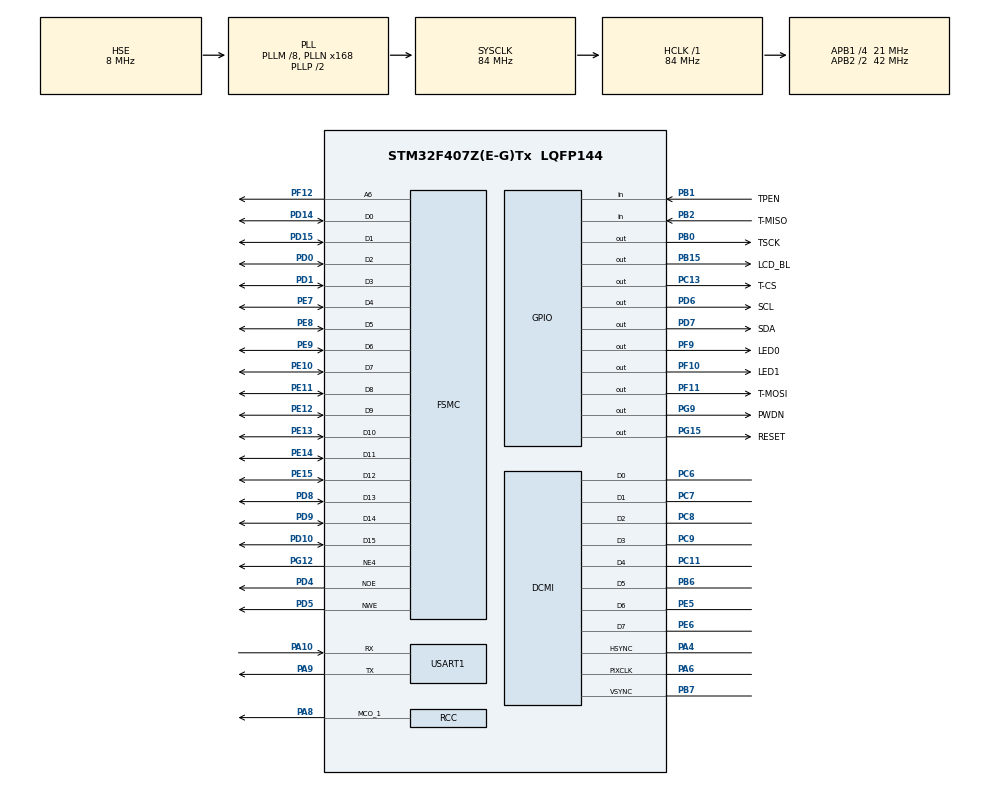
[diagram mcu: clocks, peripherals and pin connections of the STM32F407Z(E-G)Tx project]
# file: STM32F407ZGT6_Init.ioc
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DCMI.JPEGMode=DCMI_JPEG_ENABLE
DCMI.PCKPolarity=DCMI_PCKPOLARITY_RISING
Dma.DCMI.0.Direction=DMA_PERIPH_TO_MEMORY
Dma.DCMI.0.FIFOMode=DMA_FIFOMODE_ENABLE
Dma.DCMI.0.FIFOThreshold=DMA_FIFO_THRESHOLD_FULL
Dma.DCMI.0.Instance=DMA2_Stream1
Dma.DCMI.0.MemBurst=DMA_MBURST_SINGLE
Dma.DCMI.0.MemDataAlignment=DMA_MDATAALIGN_WORD
Dma.DCMI.0.MemInc=DMA_MINC_ENABLE
Dma.DCMI.0.Mode=DMA_CIRCULAR
Dma.DCMI.0.PeriphBurst=DMA_PBURST_SINGLE
Dma.DCMI.0.PeriphDataAlignment=DMA_PDATAALIGN_WORD
Dma.DCMI.0.PeriphInc=DMA_PINC_DISABLE
Dma.DCMI.0.Priority=DMA_PRIORITY_HIGH
Dma.Request0=DCMI
FSMC.AddressSetupTime1=0x0F
FSMC.BusTurnAroundDuration1=0
FSMC.DataSetupTime1=60
FSMC.ExtendedAddressSetupTime1=9
FSMC.ExtendedBusTurnAroundDuration1=0
FSMC.ExtendedDataSetupTime1=9
FSMC.ExtendedMode1=FSMC_EXTENDED_MODE_ENABLE
Mcu.Family=STM32F4
Mcu.Name=STM32F407Z(E-G)Tx
Mcu.Package=LQFP144
NVIC.DCMI_IRQn=true\:0\:0\:false\:false\:true\:true\:true\:true
NVIC.DMA2_Stream1_IRQn=true\:0\:0\:false\:false\:true\:false\:true\:true
NVIC.PriorityGroup=NVIC_PRIORITYGROUP_4
NVIC.USART1_IRQn=true\:2\:0\:true\:false\:true\:true\:true\:true
PA10.Mode=Asynchronous
PA10.Signal=USART1_RX
PA13.Mode=Serial_Wire
PA13.Signal=SYS_JTMS-SWDIO
PA14.Mode=Serial_Wire
PA14.Signal=SYS_JTCK-SWCLK
PA4.Mode=Slave_8_bits_External_Synchro
PA4.Signal=DCMI_HSYNC
PA6.Mode=Slave_8_bits_External_Synchro
PA6.Signal=DCMI_PIXCLK
PA8.Mode=Clock-out-1
PA8.Signal=RCC_MCO_1
PA9.Mode=Asynchronous
PA9.Signal=USART1_TX
PB0.GPIO_Label=TSCK
PB0.Signal=GPIO_Output
PB1.GPIO_Label=TPEN
PB1.GPIO_PuPd=GPIO_PULLUP
PB1.Signal=GPIO_Input
PB15.GPIO_Label=LCD_BL
PB15.Signal=GPIO_Output
PB2.GPIO_Label=T-MISO
PB2.GPIO_PuPd=GPIO_PULLUP
PB2.Signal=GPIO_Input
PB6.Mode=Slave_8_bits_External_Synchro
PB6.Signal=DCMI_D5
PB7.Mode=Slave_8_bits_External_Synchro
PB7.Signal=DCMI_VSYNC
PC11.Mode=Slave_8_bits_External_Synchro
PC11.Signal=DCMI_D4
PC13-ANTI_TAMP.GPIO_Label=T-CS
PC13-ANTI_TAMP.Signal=GPIO_Output
PC6.Mode=Slave_8_bits_External_Synchro
PC6.Signal=DCMI_D0
PC7.Mode=Slave_8_bits_External_Synchro
PC7.Signal=DCMI_D1
PC8.Mode=Slave_8_bits_External_Synchro
PC8.Signal=DCMI_D2
PC9.Mode=Slave_8_bits_External_Synchro
PC9.Signal=DCMI_D3
PD0.Signal=FSMC_D2_DA2
PD1.Signal=FSMC_D3_DA3
PD10.Signal=FSMC_D15_DA15
PD14.Signal=FSMC_D0_DA0
PD15.Signal=FSMC_D1_DA1
PD4.Signal=FSMC_NOE
PD5.Signal=FSMC_NWE
PD6.GPIO_Label=SCL
PD6.GPIO_ModeDefaultOutputPP=GPIO_MODE_OUTPUT_OD
PD6.GPIO_PuPd=GPIO_PULLUP
PD6.PinState=GPIO_PIN_SET
PD6.Signal=GPIO_Output
PD7.GPIO_Label=SDA
PD7.GPIO_ModeDefaultOutputPP=GPIO_MODE_OUTPUT_OD
PD7.GPIO_PuPd=GPIO_PULLUP
PD7.GPIO_Speed=GPIO_SPEED_FREQ_HIGH
PD7.PinState=GPIO_PIN_SET
PD7.Signal=GPIO_Output
PD8.Signal=FSMC_D13_DA13
PD9.Signal=FSMC_D14_DA14
PE10.Signal=FSMC_D7_DA7
PE11.Signal=FSMC_D8_DA8
PE12.Signal=FSMC_D9_DA9
PE13.Signal=FSMC_D10_DA10
PE14.Signal=FSMC_D11_DA11
PE15.Signal=FSMC_D12_DA12
PE5.Mode=Slave_8_bits_External_Synchro
PE5.Signal=DCMI_D6
PE6.Mode=Slave_8_bits_External_Synchro
PE6.Signal=DCMI_D7
PE7.Signal=FSMC_D4_DA4
PE8.Signal=FSMC_D5_DA5
PE9.Signal=FSMC_D6_DA6
PF10.GPIO_Label=LED1
PF10.GPIO_PuPd=GPIO_PULLUP
PF10.Signal=GPIO_Output
PF11.GPIO_Label=T-MOSI
PF11.Signal=GPIO_Output
PF12.Signal=FSMC_A6
PF9.GPIO_Label=LED0
PF9.GPIO_PuPd=GPIO_PULLUP
PF9.Signal=GPIO_Output
PG12.Mode=NorPsramChipSelect4_1
PG12.Signal=FSMC_NE4
PG15.GPIO_Label=RESET
PG15.GPIO_PuPd=GPIO_PULLUP
PG15.GPIO_Speed=GPIO_SPEED_FREQ_HIGH
PG15.PinState=GPIO_PIN_SET
PG15.Signal=GPIO_Output
PG9.GPIO_Label=PWDN
PG9.GPIO_PuPd=GPIO_PULLUP
PG9.GPIO_Speed=GPIO_SPEED_FREQ_HIGH
PG9.PinState=GPIO_PIN_SET
PG9.Signal=GPIO_Output
PH0-OSC_IN.Mode=HSE-External-Oscillator
PH0-OSC_IN.Signal=RCC_OSC_IN
PH1-OSC_OUT.Mode=HSE-External-Oscillator
PH1-OSC_OUT.Signal=RCC_OSC_OUT
ProjectManager.HeapSize=0x1000
ProjectManager.StackSize=0x2000
ProjectManager.TargetToolchain=MDK-ARM V5.32
RCC.48MHZClocksFreq_Value=42000000
RCC.AHBFreq_Value=84000000
RCC.APB1CLKDivider=RCC_HCLK_DIV4
RCC.APB1Freq_Value=21000000
RCC.APB1TimFreq_Value=42000000
RCC.APB2CLKDivider=RCC_HCLK_DIV2
RCC.APB2Freq_Value=42000000
RCC.APB2TimFreq_Value=84000000
RCC.CortexFreq_Value=84000000
RCC.HCLKFreq_Value=84000000
RCC.HSE_VALUE=8000000
RCC.HSI_VALUE=16000000
RCC.LSE_VALUE=32768
RCC.PLLM=8
RCC.PLLN=168
RCC.PLLSourceVirtual=RCC_PLLSOURCE_HSE
RCC.SYSCLKFreq_VALUE=84000000
RCC.SYSCLKSource=RCC_SYSCLKSOURCE_PLLCLK
RCC.VCOOutputFreq_Value=168000000
SH.FSMC_A6.0=FSMC_A6,A6_1
SH.FSMC_D0_DA0.0=FSMC_D0,16b-d1
SH.FSMC_D10_DA10.0=FSMC_D10,16b-d1
SH.FSMC_D11_DA11.0=FSMC_D11,16b-d1
SH.FSMC_D12_DA12.0=FSMC_D12,16b-d1
SH.FSMC_D13_DA13.0=FSMC_D13,16b-d1
SH.FSMC_D14_DA14.0=FSMC_D14,16b-d1
SH.FSMC_D15_DA15.0=FSMC_D15,16b-d1
SH.FSMC_D1_DA1.0=FSMC_D1,16b-d1
SH.FSMC_D2_DA2.0=FSMC_D2,16b-d1
SH.FSMC_D3_DA3.0=FSMC_D3,16b-d1
SH.FSMC_D4_DA4.0=FSMC_D4,16b-d1
SH.FSMC_D5_DA5.0=FSMC_D5,16b-d1
SH.FSMC_D6_DA6.0=FSMC_D6,16b-d1
SH.FSMC_D7_DA7.0=FSMC_D7,16b-d1
SH.FSMC_D8_DA8.0=FSMC_D8,16b-d1
SH.FSMC_D9_DA9.0=FSMC_D9,16b-d1
SH.FSMC_NOE.0=FSMC_NOE,Lcd1
SH.FSMC_NWE.0=FSMC_NWE,Lcd1
TIM6.Prescaler=83
USART1.VirtualMode=VM_ASYNC
VP_TIM6_VS_ClockSourceINT.Mode=Enable_Timer
board=custom

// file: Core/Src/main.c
/* USER CODE BEGIN Header */
/**
  ******************************************************************************
  * @file           : main.c
  * @brief          : Main program body
  ******************************************************************************
  * @attention
  *
  * Copyright (c) 2024 STMicroelectronics.
  * All rights reserved.
  *
  * This software is licensed under terms that can be found in the LICENSE file
  * in the root directory of this software component.
  * If no LICENSE file comes with this software, it is provided AS-IS.
  *
  ******************************************************************************
  */
/* USER CODE END Header */
#include "main.h"
#include "dcmi.h"
#include "dma.h"
#include "tim.h"
#include "usart.h"
#include "gpio.h"
#include "fsmc.h"

/* USER CODE BEGIN Includes */
#include "lcd.h"
#include "touch.h"
#include "ov5640.h"
/* USER CODE END Includes */

/* USER CODE BEGIN PM */
#define FrameWidth 320
#define FrameHeight 240
#define totalpoint (FrameWidth*FrameHeight)/3
/* USER CODE END PM */

/* USER CODE BEGIN PV */
uint32_t jpeg_buf[totalpoint];
volatile uint32_t DCMI_FrameIsReady = 0;
/* USER CODE END PV */

void SystemClock_Config(void);
/* USER CODE BEGIN PFP */
//void rgb565_test(uint16_t* jpeg_buf);
void rgb565_test(void);
/* USER CODE END PFP */

int main(void)
{
  /* USER CODE BEGIN 1 */
	u8 ret = 0;
	u32 i,index = 0;
  /* USER CODE END 1 */

  /* MCU Configuration--------------------------------------------------------*/

  /* Reset of all peripherals, Initializes the Flash interface and the Systick. */
  HAL_Init();

  /* Configure the system clock */
  SystemClock_Config();

  /* Initialize all configured peripherals */
  MX_GPIO_Init();
  MX_DMA_Init();
  MX_FSMC_Init();
  MX_USART1_UART_Init();
  MX_TIM6_Init();
  MX_DCMI_Init();
  /* USER CODE BEGIN 2 */
	LCD_Init();
	// 开启串口接收中断
  HAL_UART_Receive_IT(&huart1, (uint8_t *)&usart1Recv.recvData, 1);
//	Demo_Menu();
	ret = OV5640_Init();  //初始化
	printf("This OV5640_init result is %d\r\n",ret);
	//自动对焦初始化
	OV5640_RGB565_Mode();	//RGB565模式
	OV5640_Focus_Init();

	OV5640_Light_Mode(0);	//自动模式
	OV5640_Color_Saturation(3);//色彩饱和度0
	OV5640_Brightness(4);	//亮度0
	OV5640_Contrast(3);		//对比度0
	OV5640_Sharpness(33);	//自动锐度
	OV5640_Focus_Constant();//启动持续对焦
	OV5640_OutSize_Set(4,0,320,240);
//	__HAL_DCMI_ENABLE_IT(&hdcmi, DCMI_IT_FRAME);

//	HAL_DCMI_Start_DMA(&hdcmi,DCMI_MODE_CONTINUOUS,(uint32_t)&LCD->LCD_RAM,1);
//	HAL_DCMI_Start_DMA(&hdcmi,DCMI_MODE_CONTINUOUS,(uint32_t)&jpeg_buf,totalpoint);
//	rgb565_test();
//	LCD_Display_Dir(2); //横屏方向
//	LCD_Set_Window(0,0,lcddev.width,lcddev.height);
//	LCD_SetCursor(0,0);	//设置光标位置
//	LCD_WriteRAM_Prepare();     //开始写入GRAM
//	totalpoint=lcddev.width * lcddev.height; 			//得到总点数
//	for(index=0;index<40000;index++)
//	{
//		LCD->LCD_RAM=GREEN;
//	}
  /* USER CODE END 2 */

  /* Infinite loop */
  /* USER CODE BEGIN WHILE */
  while (1)
  {
//		if(DCMI_FrameIsReady)
//		{
//			DCMI_FrameIsReady = 0;
//			LCD_Set_Window(0,0,320,240);//设置一个自动换行显示区域窗口

//			LCD_WriteRAM_Prepare();     	//开始写入GRAM
//
//			for(i=0;i<320*240;i++)
//			{
//				LCD->LCD_RAM=jpeg_buf[i];
//			}
//
//		}
//		if(TP_Scan(1))
//			printf("x is 0x%X,y is 0x%X\r\n",tp_dev.x[0],tp_dev.y[0]);
		if(usart1Recv.recvFlag == 1)
		{
			usart1Recv.recvFlag = 0;
			if(strcmp((char*)usart1Recv.recvBuff, "LED\r") == 0)
			{
				// 发送数据
				printf("%s",usart1Recv.recvBuff);
				printf("temp is %d\r\n",temp);
				HAL_GPIO_TogglePin(LED0_GPIO_Port,LED0_Pin);
				HAL_GPIO_TogglePin(LED1_GPIO_Port,LED1_Pin);
//				for(i=0;i<totalpoint;i++)
//				{
//					printf("jpeg_buf[%d] is 0x%X\r\n",i,jpeg_buf[i]);
//				}
				LCD_Display_Dir(2); //横屏方向
				LCD_Set_Window(0,0,lcddev.width,lcddev.height);
				LCD_SetCursor(0,0);	//设置光标位置
				LCD_WriteRAM_Prepare();     //开始写入GRAM
				__HAL_DCMI_ENABLE_IT(&hdcmi, DCMI_IT_FRAME);
				HAL_DCMI_Start_DMA(&hdcmi,DCMI_MODE_CONTINUOUS,(uint32_t)&jpeg_buf,totalpoint);
				for(index = 0;index < totalpoint; index++)
				{
					LCD->LCD_RAM = jpeg_buf[index] >> 16;
					LCD->LCD_RAM = jpeg_buf[index] & 0xFFFF;
				}
			}
			// 发送数据
			printf("UART_FLAG\r\n");
			memset(usart1Recv.recvBuff,0,sizeof(usart1Recv.recvBuff));
		}
    /* USER CODE END WHILE */

  }
}

void SystemClock_Config(void)
{
  RCC_OscInitTypeDef RCC_OscInitStruct = {0};
  RCC_ClkInitTypeDef RCC_ClkInitStruct = {0};

  /** Configure the main internal regulator output voltage
  */
  __HAL_RCC_PWR_CLK_ENABLE();
  __HAL_PWR_VOLTAGESCALING_CONFIG(PWR_REGULATOR_VOLTAGE_SCALE1);

  /** Initializes the RCC Oscillators according to the specified parameters
  * in the RCC_OscInitTypeDef structure.
  */
  RCC_OscInitStruct.OscillatorType = RCC_OSCILLATORTYPE_HSI|RCC_OSCILLATORTYPE_HSE;
  RCC_OscInitStruct.HSEState = RCC_HSE_ON;
  RCC_OscInitStruct.HSIState = RCC_HSI_ON;
  RCC_OscInitStruct.HSICalibrationValue = RCC_HSICALIBRATION_DEFAULT;
  RCC_OscInitStruct.PLL.PLLState = RCC_PLL_ON;
  RCC_OscInitStruct.PLL.PLLSource = RCC_PLLSOURCE_HSE;
  RCC_OscInitStruct.PLL.PLLM = 8;
  RCC_OscInitStruct.PLL.PLLN = 168;
  RCC_OscInitStruct.PLL.PLLP = RCC_PLLP_DIV2;
  RCC_OscInitStruct.PLL.PLLQ = 4;
  if (HAL_RCC_OscConfig(&RCC_OscInitStruct) != HAL_OK)
  {
    Error_Handler();
  }

  /** Initializes the CPU, AHB and APB buses clocks
  */
  RCC_ClkInitStruct.ClockType = RCC_CLOCKTYPE_HCLK|RCC_CLOCKTYPE_SYSCLK
                              |RCC_CLOCKTYPE_PCLK1|RCC_CLOCKTYPE_PCLK2;
  RCC_ClkInitStruct.SYSCLKSource = RCC_SYSCLKSOURCE_PLLCLK;
  RCC_ClkInitStruct.AHBCLKDivider = RCC_SYSCLK_DIV1;
  RCC_ClkInitStruct.APB1CLKDivider = RCC_HCLK_DIV4;
  RCC_ClkInitStruct.APB2CLKDivider = RCC_HCLK_DIV2;

  if (HAL_RCC_ClockConfig(&RCC_ClkInitStruct, FLASH_LATENCY_2) != HAL_OK)
  {
    Error_Handler();
  }
  HAL_RCC_MCOConfig(RCC_MCO1, RCC_MCO1SOURCE_HSI, RCC_MCODIV_1);
}

/* USER CODE BEGIN 4 */
//RGB565测试
//RGB数据直接显示在LCD上面
//void rgb565_test(uint16_t* jpeg_buf)
void rgb565_test(void)
{

	LCD_Clear(WHITE);
  POINT_COLOR=RED;

	//自动对焦初始化
	OV5640_RGB565_Mode();	//RGB565模式
	OV5640_Focus_Init();

	OV5640_Light_Mode(0);	//自动模式
	OV5640_Color_Saturation(3);//色彩饱和度0
	OV5640_Brightness(4);	//亮度0
	OV5640_Contrast(3);		//对比度0
	OV5640_Sharpness(33);	//自动锐度
	OV5640_Focus_Constant();//启动持续对焦
	LCD_Display_Dir(1); //横屏方向
	LCD_Set_Window(0,0,320,240);
	OV5640_OutSize_Set(4,0,320,240);
  LCD_SetCursor(0,0);
	LCD_WriteRAM_Prepare();		//开始写入GRAM
//	__HAL_DCMI_ENABLE_IT(&hdcmi, DCMI_IT_FRAME);

//	HAL_DCMI_Start_DMA(&hdcmi,DCMI_MODE_CONTINUOUS,(uint32_t)&jpeg_buf,FrameWidth * FrameHeight * 2 / 4);

	HAL_DCMI_Start_DMA(&hdcmi,DCMI_MODE_CONTINUOUS,(uint32_t)LCD->LCD_RAM,FrameWidth * FrameHeight * 2 / 4);

}

void HAL_DCMI_FrameEventCallback(DCMI_HandleTypeDef *hdcmi)
{
	DCMI_FrameIsReady++;
}
/* USER CODE END 4 */

void Error_Handler(void)
{
  __disable_irq();
  while (1)
  {
  }
}
